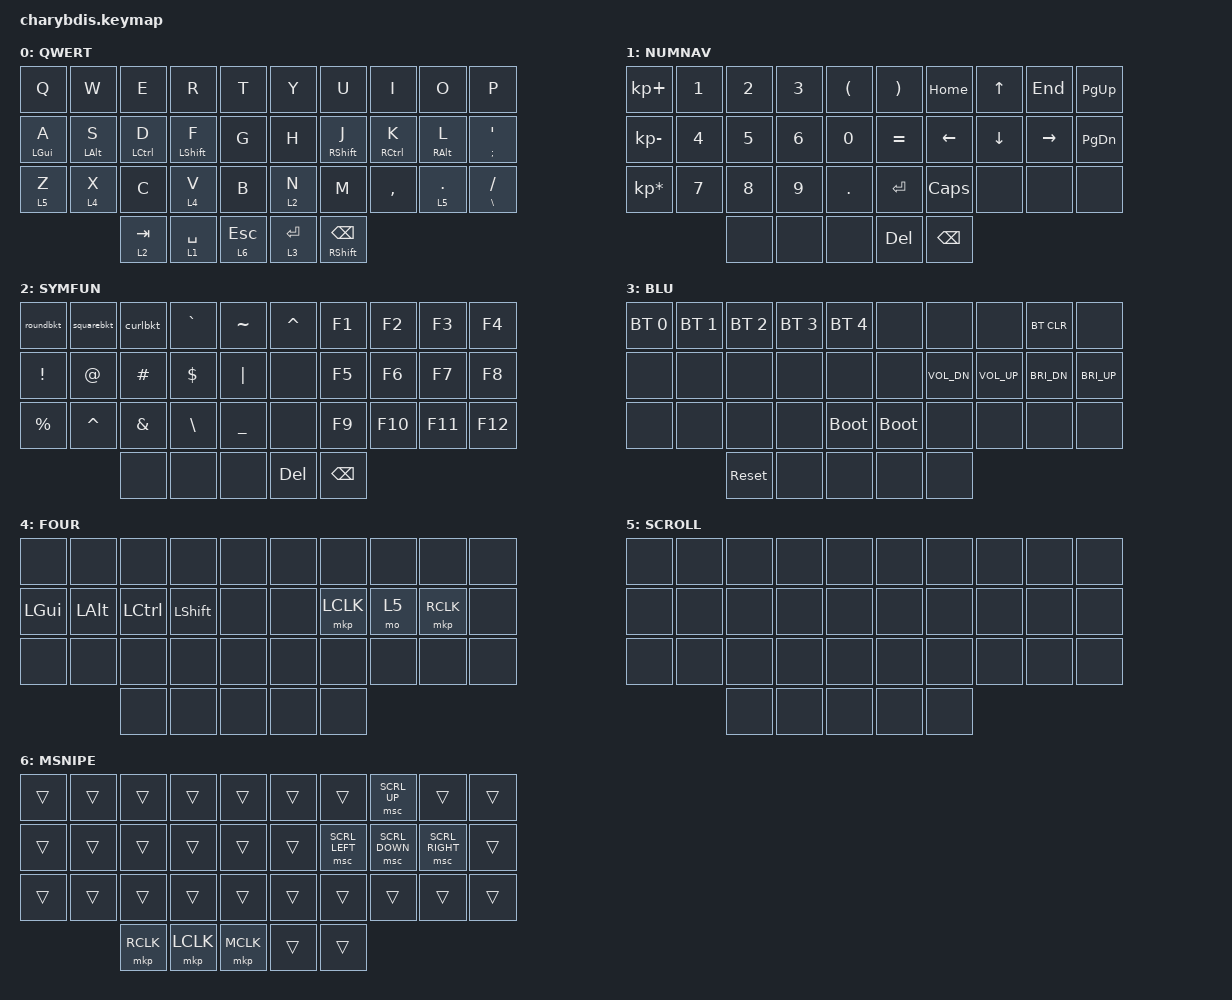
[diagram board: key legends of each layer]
#include <behaviors/mouse_keys.dtsi>
#include <behaviors.dtsi>
#include <dt-bindings/zmk/bt.h>
#include <dt-bindings/zmk/keys.h>
#include <dt-bindings/zmk/mouse.h>
#include <dt-bindings/zmk/outputs.h>

&lt {
    tapping-term-ms = <240>;
    flavor = "tap-preferred";
    quick-tap-ms = <150>;
    require-prior-idle-ms = <10>;
};

&mt { 
    tapping-term-ms = <150>;
    flavor = "tap-preferred";
    require-prior-idle-ms = <10>;
};

/ {
    chosen { zmk,matrix_transform = &five_column_transform; };
};

/ {
    combos {
        compatible = "zmk,combos";

        LeftClickRight {
            timeout-ms = <100>;
            bindings = <&mkp LCLK>;
            key-positions = <26 27>;
        };

        RightClickRight {
            timeout-ms = <100>;
            bindings = <&mkp RCLK>;
            key-positions = <27 28>;
        };

        layer3 {
            timeout-ms = <50>;
            key-positions = <38 39>;
            bindings = <&mo 3>;
       };
    };

    behaviors {
        Shift_Enter: Shift_Enter {
            compatible = "zmk,behavior-hold-tap";
            label = "SHIFT_ENTER";
            bindings = <&kp>, <&kp>;

            #binding-cells = <2>;
            hold-trigger-key-positions = <34>;
            tapping-term-ms = <100>;
        };
    };

    macros {
        quicker: quicker {
            compatible = "zmk,behavior-macro";
            #binding-cells = <0>;
            bindings = <&kp LEFT_CONTROL &kp LCTRL>, <&macro_press>;

            label = "QUICKER";
        };
         roundbkt: round_brackets {
            label= "round_brackets";
            compatible = "zmk,behavior-macro";
            #binding-cells = <0>;
            bindings
                = <&macro_tap &kp LPAR &kp RPAR &kp LEFT>;
         };
         
         squarebkt: square_brackets {
            label= "square_brackets";
            compatible = "zmk,behavior-macro";
            #binding-cells = <0>;
            bindings
                = <&macro_tap &kp LBKT &kp RBKT &kp LEFT>;
         };
         
         curlbkt: curl_brackets {
            label= "curl_brackets";
            compatible = "zmk,behavior-macro";
            #binding-cells = <0>;
            bindings
                = <&macro_tap &kp LBRC &kp RBRC &kp LEFT>;
         };
    };

    keymap {
        compatible = "zmk,keymap";

        QWERT {
            bindings = <
  &kp Q       &kp W       &kp E        &kp R        &kp T             &kp Y           &kp U        &kp I        &kp O       &kp P
  &mt LGUI A  &mt LALT S  &mt LCTRL D  &mt LSHFT F  &kp G             &kp H           &mt RSHFT J  &mt RCTRL K  &mt RALT L  &mt SEMI SQT
  &lt 5 Z     &lt 4 X     &kp C        &lt 4 V      &kp B             &lt 2 N         &kp M        &kp COMMA    &lt 5 DOT   &mt BSLH FSLH
                          &lt 2 TAB    &lt 1 SPACE  &lt 6 ESC         &lt 3 ENTER     &mt RSHFT BSPC
            >;
        };

        NUMNAV {
            bindings = <
  &kp KP_PLUS     &kp N1     &kp N2     &kp N3     &kp LPAR              &kp RPAR     &kp HOME  &kp UP   &kp END   &kp PG_UP
  &kp KP_MINUS    &kp N4     &kp N5     &kp N6     &kp N0                &kp EQUAL    &kp LEFT  &kp DOWN &kp RIGHT &kp PG_DN
  &kp KP_MULTIPLY &kp N7     &kp N8     &kp N9     &kp DOT               &kp ENTER    &kp CAPS  &none    &none     &none
                             &none      &none      &none                 &kp DEL      &kp BSPC
            >;
        };

        SYMFUN {
            bindings = <
  &roundbkt  &squarebkt &curlbkt       &kp GRAVE      &kp TILDE             &kp CARET  &kp F1  &kp F2   &kp F3   &kp F4
  &kp EXCL   &kp AT     &kp HASH       &kp DOLLAR     &kp PIPE              &none      &kp F5  &kp F6   &kp F7   &kp F8
  &kp PRCNT  &kp CARET  &kp AMPERSAND  &kp BACKSLASH  &kp UNDERSCORE        &none      &kp F9  &kp F10  &kp F11  &kp F12
                        &none          &none          &none                 &kp DEL    &kp BSPC
            >;
        };

        BLU {
            bindings = <
  &bt BT_SEL 0  &bt BT_SEL 1  &bt BT_SEL 2  &bt BT_SEL 3  &bt BT_SEL 4          &none        &none         &none         &bt BT_CLR    &none
  &none         &none         &none         &none         &none                 &none        &kp C_VOL_DN  &kp C_VOL_UP  &kp C_BRI_DN  &kp C_BRI_UP
  &none         &none         &none         &none         &bootloader           &bootloader  &none         &none         &none         &none
                              &sys_reset    &none         &none                 &none        &none
            >;
        };

        FOUR {
            bindings = <
  &none     &none     &none      &none      &none       &none  &none      &none      &none      &none
  &kp LGUI  &kp LALT  &kp LCTRL  &kp LSHFT  &none       &none  &mkp LCLK  &mo 5      &mkp RCLK  &none
  &none     &none     &none      &none      &none       &none  &none      &none      &none     &none
                      &none      &none      &none       &none  &none
            >;
        };

        SCROLL {
            bindings = <
  &none     &none     &none      &none      &none       &none  &none      &none      &none  &none
  &none     &none     &none      &none      &none       &none  &none      &none      &none  &none
  &none     &none     &none      &none      &none       &none  &none      &none      &none  &none
                      &none      &none      &none       &none  &none
            >;
        };

        MSNIPE {
            bindings = <
  &trans  &trans  &trans     &trans     &trans       &trans  &trans          &msc SCRL_UP    &trans  &trans
  &trans  &trans  &trans     &trans     &trans       &trans  &msc SCRL_LEFT  &msc SCRL_DOWN  &msc SCRL_RIGHT  &trans
  &trans  &trans  &trans     &trans     &trans       &trans  &trans  &trans  &trans  &trans
                  &mkp RCLK  &mkp LCLK  &mkp MCLK    &trans  &trans
            >;
        };
    };
};
